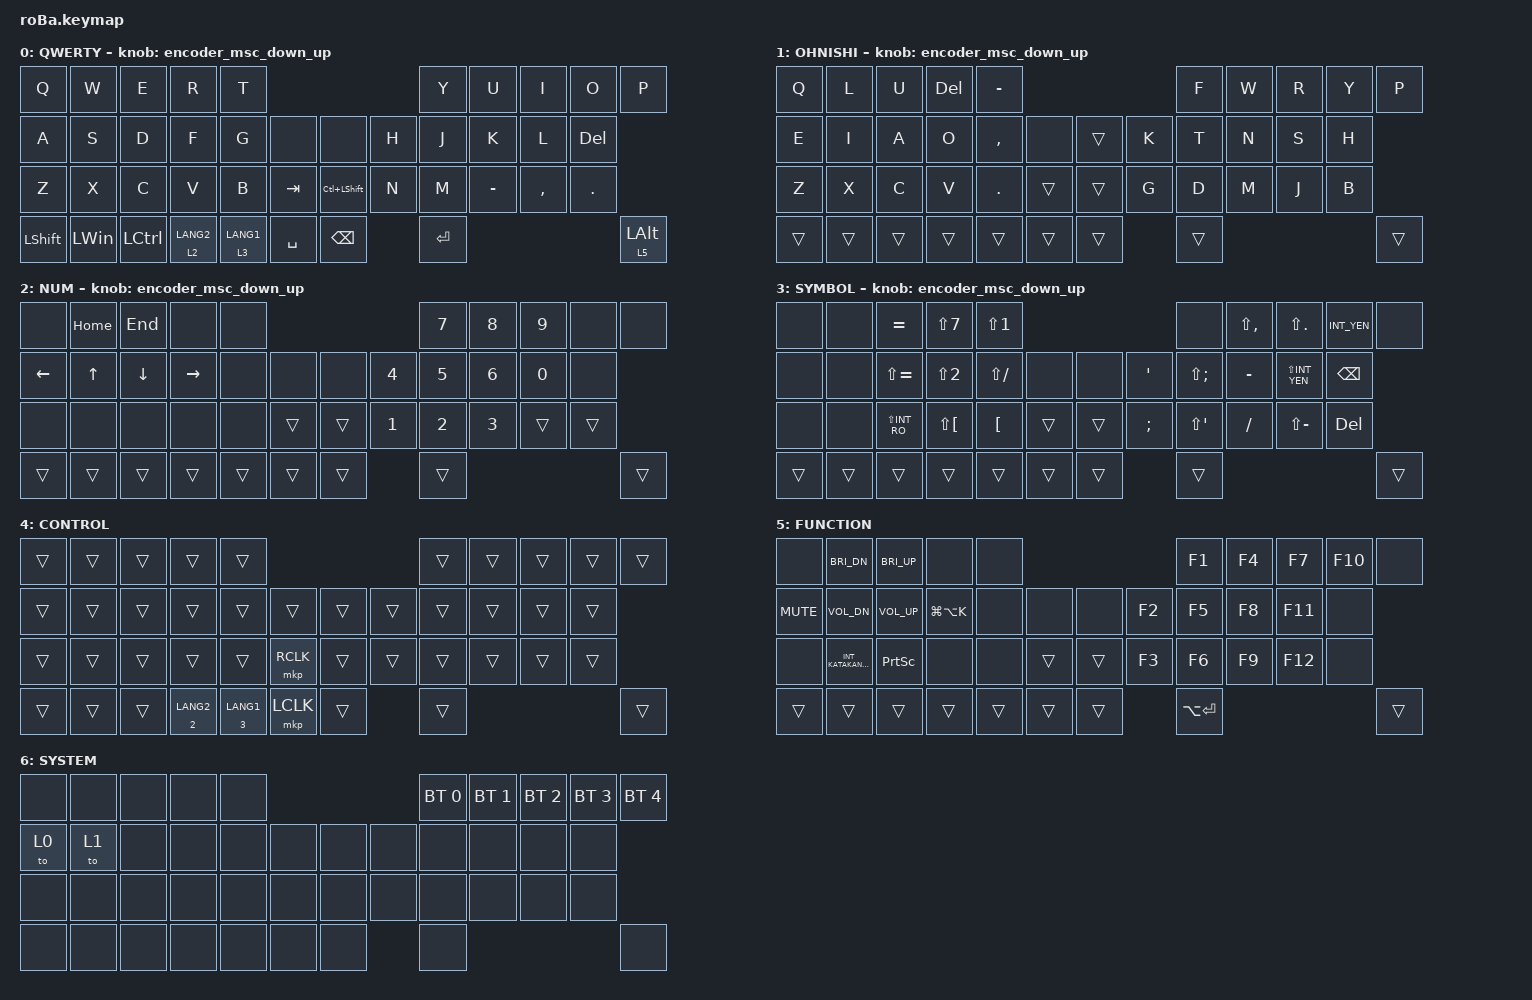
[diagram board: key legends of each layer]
#include <behaviors.dtsi>
#include <dt-bindings/zmk/bt.h>
#include <dt-bindings/zmk/keys.h>
#include <dt-bindings/zmk/pointing.h>
#include <mouse-gesture.dtsi>

#define ZMK_POINTING_DEFAULT_SCRL_VAL 80

&mt {
    flavor = "balanced";
    quick-tap-ms = <0>;
};

&trackball {
    automouse-layer = <4>;
};

&trackball_listener {
    input-processors = <&zip_mouse_gesture>;
};

&zip_mouse_gesture {
    enable-eager-mode;
    suppress-movement;

    right {
        pattern = <GESTURE_RIGHT>;
        bindings = <&kp RIGHT>;
    };

    left {
        pattern = <GESTURE_LEFT>;
        bindings = <&kp LEFT>;
    };

    up {
        pattern = <GESTURE_UP>;
        bindings = <&kp UP>;
    };

    down {
        pattern = <GESTURE_DOWN>;
        bindings = <&kp DOWN>;
    };
};

/ {
    combos {
        compatible = "zmk,combos";

        esc {
            bindings = <&kp ESC>;
            key-positions = <0 1>;
        };

        parenthesises {
            bindings = <&parenthesises>;
            key-positions = <19 20>;
        };

        brackets {
            bindings = <&brackets>;
            key-positions = <7 8>;
        };

        braces {
            bindings = <&braces>;
            key-positions = <31 32>;
        };

        system_layer {
            bindings = <&mo 6>;
            key-positions = <27 28>;
            layers = <0 1>;
            timeout-ms = <50>;
        };

        gesture_win_ctrl {
            bindings = <&gesture_win_ctrl>;
            key-positions = <18 19>;
            layers = <0 1 4>;
        };

        gesture_win {
            bindings = <&gesture_win>;
            key-positions = <30 31>;
            layers = <0 1 4>;
        };

        bt_clr {
            bindings = <&bt BT_CLR>;
            key-positions = <5 6>;
            layers = <6>;
            timeout-ms = <50>;
        };

        bt_clr_all {
            bindings = <&bt BT_CLR_ALL>;
            key-positions = <5 9>;
            layers = <6>;
            timeout-ms = <50>;
        };

        boot {
            bindings = <&bootloader>;
            key-positions = <8 9>;
            layers = <6>;
            timeout-ms = <50>;
        };
    };

    macros {
        parenthesises: parenthesises {
            compatible = "zmk,behavior-macro";
            #binding-cells = <0>;
            bindings = <&kp LS(N8) &kp LS(N9) &kp LEFT_ARROW>;
        };

        braces: braces {
            compatible = "zmk,behavior-macro";
            #binding-cells = <0>;
            bindings = <&kp LS(RIGHT_BRACKET) &kp LS(BACKSLASH) &kp LEFT_ARROW>;
        };

        brackets: brackets {
            compatible = "zmk,behavior-macro";
            #binding-cells = <0>;
            bindings = <&kp RIGHT_BRACKET &kp BACKSLASH &kp LEFT_ARROW>;
        };

        gesture_win_ctrl: gesture_win_ctrl {
            compatible = "zmk,behavior-macro";
            #binding-cells = <0>;
            bindings
                = <&macro_press &kp LGUI &kp LCTRL &mouse_gesture>
                , <&macro_pause_for_release>
                , <&macro_release &mouse_gesture &kp LCTRL &kp LGUI>
                ;
        };

        gesture_win: gesture_win {
            compatible = "zmk,behavior-macro";
            #binding-cells = <0>;
            bindings
                = <&macro_press &kp LGUI &mouse_gesture>
                , <&macro_pause_for_release>
                , <&macro_release &mouse_gesture &kp LGUI>
                ;
        };

        mo_exit_control: mo_exit_control {
            compatible = "zmk,behavior-macro-one-param";
            #binding-cells = <1>;
            bindings
                = <&macro_tap &tog_off 4>
                , <&macro_param_1to1 &macro_press &mo MACRO_PLACEHOLDER>
                , <&macro_pause_for_release>
                , <&macro_param_1to1 &macro_release &mo MACRO_PLACEHOLDER>
                ;
        };

        kp_exit_control: kp_exit_control {
            compatible = "zmk,behavior-macro-one-param";
            #binding-cells = <1>;
            bindings
                = <&macro_tap &tog_off 4>
                , <&macro_param_1to1 &macro_tap &kp MACRO_PLACEHOLDER>
                ;
        };
    };

    behaviors {
        encoder_msc_down_up: encoder_msc_down_up {
            compatible = "zmk,behavior-sensor-rotate";
            label = "ENCODER_MSC_DOWN_UP";
            #sensor-binding-cells = <0>;
            bindings = <&msc SCRL_DOWN>, <&msc SCRL_UP>;
            tap-ms = <20>;
        };

        tog_off: tog_off {
            compatible = "zmk,behavior-toggle-layer";
            #binding-cells = <1>;
            toggle-mode = "off";
        };

        lt_exit_control: lt_exit_control {
            compatible = "zmk,behavior-hold-tap";
            #binding-cells = <2>;
            flavor = "tap-preferred";
            tapping-term-ms = <200>;
            bindings = <&mo_exit_control>, <&kp_exit_control>;
        };
    };

    keymap {
        compatible = "zmk,keymap";

        QWERTY {
            bindings = <
&kp Q             &kp W         &kp E         &kp R     &kp T                                             &kp Y          &kp U  &kp I      &kp O    &kp P
&kp A             &kp S         &kp D         &kp F     &kp G          &none            &none        &kp H          &kp J  &kp K      &kp L    &kp DEL
&kp Z             &kp X         &kp C         &kp V     &kp B          &kp TAB          &kp LC(LSHIFT)  &kp N          &kp M  &kp MINUS  &kp COMMA  &kp DOT
&kp LEFT_SHIFT    &kp LEFT_WIN     &kp LCTRL    &lt 2 LANG2    &lt 3 LANG1    &kp SPACE     &kp BACKSPACE    &kp ENTER                                  &lt 5 LALT
            >;

            sensor-bindings = <&encoder_msc_down_up>;
        };

        OHNISHI {
            bindings = < 
&kp Q    &kp L     &kp U    &kp DEL     &kp MINUS                            &kp F  &kp W  &kp R  &kp Y  &kp P
&kp E    &kp I     &kp A    &kp O       &kp COMMA       &none      &trans    &kp K  &kp T  &kp N  &kp S  &kp H
&kp Z    &kp X     &kp C    &kp V       &kp DOT         &trans     &trans    &kp G  &kp D  &kp M  &kp J  &kp B
&trans   &trans    &trans   &trans      &trans          &trans     &trans    &trans                      &trans
            >;

            sensor-bindings = <&encoder_msc_down_up>;
        };

        NUM {
            bindings = <
&none        &kp HOME     &kp END    &none         &none                           &kp N7     &kp N8     &kp N9     &none      &none
&kp LEFT     &kp UP       &kp DOWN   &kp RIGHT     &none     &none     &none       &kp N4     &kp N5     &kp N6     &kp N0     &none
&none        &none        &none      &none         &none     &trans    &trans      &kp N1     &kp N2     &kp N3     &trans     &trans
&trans    &trans    &trans    &trans    &trans    &trans    &trans      &trans                                        &trans
            >;

            sensor-bindings = <&encoder_msc_down_up>;
        };

        SYMBOL {
            bindings = <
&none    &none    &kp EQUAL            &kp LS(N7)              &kp LS(N1)                                    &none                &kp LS(COMMA)           &kp LS(DOT)     &kp INT_YEN        &none
&none    &none    &kp LS(EQUAL)        &kp LS(N2)              &kp LS(SLASH)    &none    &none            &kp SINGLE_QUOTE     &kp LS(SEMICOLON)       &kp MINUS       &kp LS(INT_YEN)    &kp BACKSPACE
&none    &none    &kp LS(INT_RO)       &kp LS(LEFT_BRACKET)    &kp LEFT_BRACKET &trans   &trans           &kp SEMICOLON        &kp LS(SINGLE_QUOTE)    &kp SLASH       &kp LS(MINUS)      &kp DEL
&trans            &trans        &trans        &trans                &trans           &trans        &trans           &trans                                                                 &trans
            >;

            sensor-bindings = <&encoder_msc_down_up>;
        };

        CONTROL {
            bindings = <
&trans    &trans     &trans     &trans     &trans                              &trans    &trans      &trans      &trans       &trans
&trans    &trans     &trans     &trans     &trans    &trans      &trans        &trans    &trans      &trans      &trans       &trans
&trans    &trans     &trans     &trans     &trans    &mkp RCLK   &trans        &trans    &trans      &trans      &trans       &trans
&trans    &trans     &trans     &lt_exit_control 2 LANG2  &lt_exit_control 3 LANG1  &mkp LCLK  &trans    &trans                                         &trans
            >;
        };

        FUNCTION {
            bindings = <
&none         &kp C_BRI_DN   &kp C_BRI_UP  &none         &none             &kp F1    &kp F4    &kp F7    &kp F10   &none
&kp C_MUTE    &kp C_VOL_DN   &kp C_VOL_UP  &kp LG(LA(K)) &none     &none      &none         &kp F2    &kp F5    &kp F8    &kp F11   &none
&none         &kp INT_KATAKANAHIRAGANA  &kp PSCRN     &none         &none     &trans     &trans        &kp F3    &kp F6    &kp F9    &kp F12   &none
&trans    &trans     &trans     &trans     &trans    &trans      &trans        &kp LA(ENTER)                           &trans
            >;
        };

        SYSTEM {
            bindings = <
&none    &none    &none    &none    &none                            &bt BT_SEL 0    &bt BT_SEL 1    &bt BT_SEL 2    &bt BT_SEL 3    &bt BT_SEL 4
&to 0    &to 1    &none    &none    &none    &none      &none        &none           &none           &none           &none           &none
&none    &none    &none    &none    &none    &none      &none        &none           &none           &none           &none           &none
&none    &none    &none    &none    &none    &none      &none        &none                                                           &none
            >;
        };
    };
};
